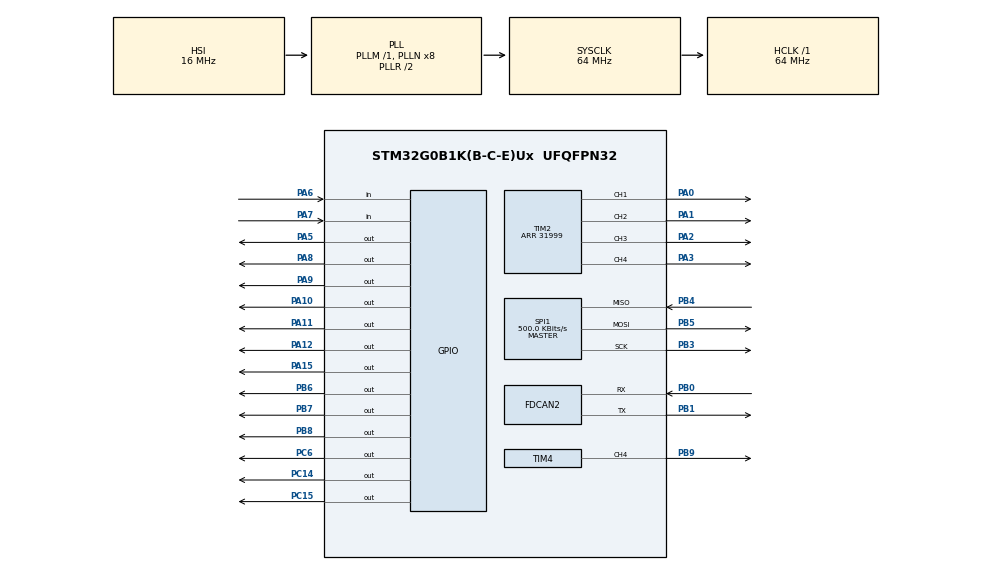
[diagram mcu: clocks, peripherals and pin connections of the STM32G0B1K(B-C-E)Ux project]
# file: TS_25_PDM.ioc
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FDCAN2.AutoRetransmission=ENABLE
FDCAN2.CalculateBaudRateNominal=500000
FDCAN2.CalculateTimeBitNominal=2000
FDCAN2.CalculateTimeQuantumNominal=125.0
FDCAN2.Mode=FDCAN_MODE_NORMAL
FDCAN2.NominalPrescaler=4
FDCAN2.NominalTimeSeg1=11
FDCAN2.NominalTimeSeg2=4
FDCAN2.StdFiltersNbr=1
FDCAN2.TxFifoQueueMode=FDCAN_TX_FIFO_OPERATION
Mcu.Family=STM32G0
Mcu.Name=STM32G0B1K(B-C-E)Ux
Mcu.Package=UFQFPN32
NVIC.TIM15_IRQn=true\:0\:0\:false\:false\:true\:true\:true\:true
NVIC.TIM2_IRQn=true\:0\:0\:false\:false\:true\:true\:true\:true
PA0.Signal=S_TIM2_CH1_ETR
PA1.Signal=S_TIM2_CH2
PA10.Signal=GPIO_Output
PA11\ [PA9].Signal=GPIO_Output
PA12\ [PA10].Signal=GPIO_Output
PA13.Mode=Serial_Wire
PA13.Signal=SYS_SWDIO
PA14-BOOT0.Mode=Serial_Wire
PA14-BOOT0.Signal=SYS_SWCLK
PA15.Signal=GPIO_Output
PA2.Signal=S_TIM2_CH3
PA3.Signal=S_TIM2_CH4
PA5.Signal=GPIO_Output
PA6.Signal=GPIO_Input
PA7.Signal=GPIO_Input
PA8.Signal=GPIO_Output
PA9.Signal=GPIO_Output
PB0.Mode=FDCAN_Activate
PB0.Signal=FDCAN2_RX
PB1.GPIO_Speed=GPIO_SPEED_FREQ_HIGH
PB1.Mode=FDCAN_Activate
PB1.Signal=FDCAN2_TX
PB3.Mode=Full_Duplex_Master
PB3.Signal=SPI1_SCK
PB4.GPIO_PuPd=GPIO_PULLDOWN
PB4.Mode=Full_Duplex_Master
PB4.Signal=SPI1_MISO
PB5.Mode=Full_Duplex_Master
PB5.Signal=SPI1_MOSI
PB6.Signal=GPIO_Output
PB7.Signal=GPIO_Output
PB8.Signal=GPIO_Output
PB9.Signal=S_TIM4_CH4
PC14-OSC32_IN\ (PC14).Signal=GPIO_Output
PC15-OSC32_OUT\ (PC15).Signal=GPIO_Output
PC6.Signal=GPIO_Output
ProjectManager.HeapSize=0x200
ProjectManager.StackSize=0x400
ProjectManager.TargetToolchain=STM32CubeIDE
RCC.ADCFreq_Value=64000000
RCC.AHBFreq_Value=64000000
RCC.APB1CLKDivider=RCC_HCLK_DIV2
RCC.CortexFreq_Value=64000000
RCC.EXTERNAL_CLOCK_VALUE=48000
RCC.HCLKFreq_Value=64000000
RCC.HSE_VALUE=8000000
RCC.HSI48_VALUE=48000000
RCC.HSI_VALUE=16000000
RCC.LSE_VALUE=32768
RCC.SYSCLKFreq_VALUE=64000000
RCC.SYSCLKSource=RCC_SYSCLKSOURCE_PLLCLK
RCC.USBFreq_Value=48000000
RCC.VCOOutputFreq_Value=128000000
SH.S_TIM2_CH1_ETR.0=TIM2_CH1,PWM Generation1 CH1
SH.S_TIM2_CH2.0=TIM2_CH2,PWM Generation2 CH2
SH.S_TIM2_CH3.0=TIM2_CH3,PWM Generation3 CH3
SH.S_TIM2_CH4.0=TIM2_CH4,PWM Generation4 CH4
SH.S_TIM4_CH4.0=TIM4_CH4,PWM Generation4 CH4
SPI1.BaudRatePrescaler=SPI_BAUDRATEPRESCALER_64
SPI1.CalculateBaudRate=500.0 KBits/s
SPI1.DataSize=SPI_DATASIZE_8BIT
SPI1.Direction=SPI_DIRECTION_2LINES
SPI1.Mode=SPI_MODE_MASTER
SPI1.VirtualType=VM_MASTER
TIM15.Period=63999
TIM2.Channel-PWM\ Generation1\ CH1=TIM_CHANNEL_1
TIM2.Channel-PWM\ Generation2\ CH2=TIM_CHANNEL_2
TIM2.Channel-PWM\ Generation3\ CH3=TIM_CHANNEL_3
TIM2.Channel-PWM\ Generation4\ CH4=TIM_CHANNEL_4
TIM2.Period=31999
TIM4.Channel-PWM\ Generation4\ CH4=TIM_CHANNEL_4
TIM4.Period=31999
VP_SYS_VS_DBSignals.Mode=DisableDeadBatterySignals
VP_TIM15_VS_ClockSourceINT.Mode=Internal
VP_TIM2_VS_ClockSourceINT.Mode=Internal
VP_TIM4_VS_ClockSourceINT.Mode=Internal
board=custom

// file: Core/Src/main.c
/* USER CODE BEGIN Header */
/**
  ******************************************************************************
  * @file           : main.c
  * @brief          : Main program body
  ******************************************************************************
  * @attention
  *
  * Copyright (c) 2025 STMicroelectronics.
  * All rights reserved.
  *
  * This software is licensed under terms that can be found in the LICENSE file
  * in the root directory of this software component.
  * If no LICENSE file comes with this software, it is provided AS-IS.
  *
  ******************************************************************************
  */
/* USER CODE END Header */
#include "main.h"

/* USER CODE BEGIN Includes */
#include "PDM.h"
/* USER CODE END Includes */

FDCAN_HandleTypeDef hfdcan2;

SPI_HandleTypeDef hspi1;

TIM_HandleTypeDef htim2;
TIM_HandleTypeDef htim4;
TIM_HandleTypeDef htim15;

void SystemClock_Config(void);
static void MX_GPIO_Init(void);
static void MX_FDCAN2_Init(void);
static void MX_SPI1_Init(void);
static void MX_TIM2_Init(void);
static void MX_TIM4_Init(void);
static void MX_TIM15_Init(void);

int main(void)
{

  /* MCU Configuration--------------------------------------------------------*/

  /* Reset of all peripherals, Initializes the Flash interface and the Systick. */
  HAL_Init();

  /* Configure the system clock */
  SystemClock_Config();

  /* USER CODE BEGIN SysInit */
  HAL_FDCAN_MspInit(&hfdcan2);
  HAL_SPI_MspInit(&hspi1);
  /* USER CODE END SysInit */

  /* Initialize all configured peripherals */
  MX_GPIO_Init();
  MX_FDCAN2_Init();
  MX_SPI1_Init();
  MX_TIM2_Init();
  MX_TIM4_Init();
  MX_TIM15_Init();
  /* USER CODE BEGIN 2 */
  canFramesDefine();
  ioAssign();
  initialiseADC();
  HAL_GPIO_WritePin(GPIOA, GPIO_PIN_5, GPIO_PIN_RESET);

  TickerAttach(&Ticker, &TransmitHeartBeat, PDM_HEARTBEAT_CAN_RATE);
  TickerAttach(&Ticker, &TransmitDigital, PDM_DIGITAL_CAN_RATE);
  TickerAttach(&Ticker, &TransmitDriverOut, PDM_HSDRIVERS_CAN_RATE);

  HAL_TIM_PWM_Start(&htim2, TIM_CHANNEL_4);
  HAL_TIM_PWM_Start(&htim2, TIM_CHANNEL_3);
  HAL_TIM_PWM_Start(&htim2, TIM_CHANNEL_2);
  HAL_TIM_PWM_Start(&htim2, TIM_CHANNEL_1);
  HAL_TIM_PWM_Start(&htim4, TIM_CHANNEL_4);

  //FDCAN_FilterTypeDef sFilterConfig;

  /* Configure Rx filter *//*
  sFilterConfig.IdType = FDCAN_STANDARD_ID;
  sFilterConfig.FilterIndex = 0;
  sFilterConfig.FilterType = FDCAN_FILTER_MASK;
  sFilterConfig.FilterConfig = FDCAN_FILTER_TO_RXFIFO0;
  sFilterConfig.FilterID1 = 0x260;
  sFilterConfig.FilterID2 = 0;
  HAL_FDCAN_ConfigFilter(&hfdcan2, &sFilterConfig);
  */
  /* Configure global filter:
     Filter all remote frames with STD and EXT ID
     Reject non matching frames with STD ID and EXT ID */
  //HAL_FDCAN_ConfigGlobalFilter(&hfdcan2, FDCAN_REJECT, FDCAN_REJECT, FDCAN_FILTER_REMOTE, FDCAN_FILTER_REMOTE);

  /* Start the FDCAN module */
  HAL_FDCAN_Start(&hfdcan2);

  //HAL_FDCAN_ActivateNotification(&hfdcan2, FDCAN_IT_RX_FIFO0_NEW_MESSAGE, 0);

  HAL_TIM_Base_Start_IT(&htim15);
  /* USER CODE END 2 */

  /* Infinite loop */
  /* USER CODE BEGIN WHILE */
  while (1)
  {
	  CheckReceivedCAN();
	  updatePWM();
	  UpdateDigital();
	  UpdateDriverOut();
	  TransmitCAN();
    /* USER CODE END WHILE */

  }
}

void SystemClock_Config(void)
{
  RCC_OscInitTypeDef RCC_OscInitStruct = {0};
  RCC_ClkInitTypeDef RCC_ClkInitStruct = {0};

  /** Configure the main internal regulator output voltage
  */
  HAL_PWREx_ControlVoltageScaling(PWR_REGULATOR_VOLTAGE_SCALE1);

  /** Initializes the RCC Oscillators according to the specified parameters
  * in the RCC_OscInitTypeDef structure.
  */
  RCC_OscInitStruct.OscillatorType = RCC_OSCILLATORTYPE_HSI;
  RCC_OscInitStruct.HSIState = RCC_HSI_ON;
  RCC_OscInitStruct.HSIDiv = RCC_HSI_DIV1;
  RCC_OscInitStruct.HSICalibrationValue = RCC_HSICALIBRATION_DEFAULT;
  RCC_OscInitStruct.PLL.PLLState = RCC_PLL_ON;
  RCC_OscInitStruct.PLL.PLLSource = RCC_PLLSOURCE_HSI;
  RCC_OscInitStruct.PLL.PLLM = RCC_PLLM_DIV1;
  RCC_OscInitStruct.PLL.PLLN = 8;
  RCC_OscInitStruct.PLL.PLLP = RCC_PLLP_DIV2;
  RCC_OscInitStruct.PLL.PLLQ = RCC_PLLQ_DIV2;
  RCC_OscInitStruct.PLL.PLLR = RCC_PLLR_DIV2;
  if (HAL_RCC_OscConfig(&RCC_OscInitStruct) != HAL_OK)
  {
    Error_Handler();
  }

  /** Initializes the CPU, AHB and APB buses clocks
  */
  RCC_ClkInitStruct.ClockType = RCC_CLOCKTYPE_HCLK|RCC_CLOCKTYPE_SYSCLK
                              |RCC_CLOCKTYPE_PCLK1;
  RCC_ClkInitStruct.SYSCLKSource = RCC_SYSCLKSOURCE_PLLCLK;
  RCC_ClkInitStruct.AHBCLKDivider = RCC_SYSCLK_DIV1;
  RCC_ClkInitStruct.APB1CLKDivider = RCC_HCLK_DIV2;

  if (HAL_RCC_ClockConfig(&RCC_ClkInitStruct, FLASH_LATENCY_2) != HAL_OK)
  {
    Error_Handler();
  }
}

static void MX_FDCAN2_Init(void)
{

  hfdcan2.Instance = FDCAN2;
  hfdcan2.Init.ClockDivider = FDCAN_CLOCK_DIV1;
  hfdcan2.Init.FrameFormat = FDCAN_FRAME_CLASSIC;
  hfdcan2.Init.Mode = FDCAN_MODE_NORMAL;
  hfdcan2.Init.AutoRetransmission = ENABLE;
  hfdcan2.Init.TransmitPause = DISABLE;
  hfdcan2.Init.ProtocolException = DISABLE;
  hfdcan2.Init.NominalPrescaler = 4;
  hfdcan2.Init.NominalSyncJumpWidth = 1;
  hfdcan2.Init.NominalTimeSeg1 = 11;
  hfdcan2.Init.NominalTimeSeg2 = 4;
  hfdcan2.Init.DataPrescaler = 1;
  hfdcan2.Init.DataSyncJumpWidth = 1;
  hfdcan2.Init.DataTimeSeg1 = 1;
  hfdcan2.Init.DataTimeSeg2 = 1;
  hfdcan2.Init.StdFiltersNbr = 1;
  hfdcan2.Init.ExtFiltersNbr = 0;
  hfdcan2.Init.TxFifoQueueMode = FDCAN_TX_FIFO_OPERATION;
  if (HAL_FDCAN_Init(&hfdcan2) != HAL_OK)
  {
    Error_Handler();
  }

}

static void MX_SPI1_Init(void)
{

  /* SPI1 parameter configuration*/
  hspi1.Instance = SPI1;
  hspi1.Init.Mode = SPI_MODE_MASTER;
  hspi1.Init.Direction = SPI_DIRECTION_2LINES;
  hspi1.Init.DataSize = SPI_DATASIZE_8BIT;
  hspi1.Init.CLKPolarity = SPI_POLARITY_LOW;
  hspi1.Init.CLKPhase = SPI_PHASE_1EDGE;
  hspi1.Init.NSS = SPI_NSS_SOFT;
  hspi1.Init.BaudRatePrescaler = SPI_BAUDRATEPRESCALER_64;
  hspi1.Init.FirstBit = SPI_FIRSTBIT_MSB;
  hspi1.Init.TIMode = SPI_TIMODE_DISABLE;
  hspi1.Init.CRCCalculation = SPI_CRCCALCULATION_DISABLE;
  hspi1.Init.CRCPolynomial = 7;
  hspi1.Init.CRCLength = SPI_CRC_LENGTH_DATASIZE;
  hspi1.Init.NSSPMode = SPI_NSS_PULSE_ENABLE;
  if (HAL_SPI_Init(&hspi1) != HAL_OK)
  {
    Error_Handler();
  }

}

static void MX_TIM2_Init(void)
{

  TIM_ClockConfigTypeDef sClockSourceConfig = {0};
  TIM_MasterConfigTypeDef sMasterConfig = {0};
  TIM_OC_InitTypeDef sConfigOC = {0};

  htim2.Instance = TIM2;
  htim2.Init.Prescaler = 0;
  htim2.Init.CounterMode = TIM_COUNTERMODE_UP;
  htim2.Init.Period = 31999;
  htim2.Init.ClockDivision = TIM_CLOCKDIVISION_DIV1;
  htim2.Init.AutoReloadPreload = TIM_AUTORELOAD_PRELOAD_DISABLE;
  if (HAL_TIM_Base_Init(&htim2) != HAL_OK)
  {
    Error_Handler();
  }
  sClockSourceConfig.ClockSource = TIM_CLOCKSOURCE_INTERNAL;
  if (HAL_TIM_ConfigClockSource(&htim2, &sClockSourceConfig) != HAL_OK)
  {
    Error_Handler();
  }
  if (HAL_TIM_PWM_Init(&htim2) != HAL_OK)
  {
    Error_Handler();
  }
  sMasterConfig.MasterOutputTrigger = TIM_TRGO_RESET;
  sMasterConfig.MasterSlaveMode = TIM_MASTERSLAVEMODE_DISABLE;
  if (HAL_TIMEx_MasterConfigSynchronization(&htim2, &sMasterConfig) != HAL_OK)
  {
    Error_Handler();
  }
  sConfigOC.OCMode = TIM_OCMODE_PWM1;
  sConfigOC.Pulse = 0;
  sConfigOC.OCPolarity = TIM_OCPOLARITY_HIGH;
  sConfigOC.OCFastMode = TIM_OCFAST_DISABLE;
  if (HAL_TIM_PWM_ConfigChannel(&htim2, &sConfigOC, TIM_CHANNEL_1) != HAL_OK)
  {
    Error_Handler();
  }
  if (HAL_TIM_PWM_ConfigChannel(&htim2, &sConfigOC, TIM_CHANNEL_2) != HAL_OK)
  {
    Error_Handler();
  }
  if (HAL_TIM_PWM_ConfigChannel(&htim2, &sConfigOC, TIM_CHANNEL_3) != HAL_OK)
  {
    Error_Handler();
  }
  if (HAL_TIM_PWM_ConfigChannel(&htim2, &sConfigOC, TIM_CHANNEL_4) != HAL_OK)
  {
    Error_Handler();
  }
  HAL_TIM_MspPostInit(&htim2);

}

static void MX_TIM4_Init(void)
{

  TIM_ClockConfigTypeDef sClockSourceConfig = {0};
  TIM_MasterConfigTypeDef sMasterConfig = {0};
  TIM_OC_InitTypeDef sConfigOC = {0};

  htim4.Instance = TIM4;
  htim4.Init.Prescaler = 0;
  htim4.Init.CounterMode = TIM_COUNTERMODE_UP;
  htim4.Init.Period = 31999;
  htim4.Init.ClockDivision = TIM_CLOCKDIVISION_DIV1;
  htim4.Init.AutoReloadPreload = TIM_AUTORELOAD_PRELOAD_DISABLE;
  if (HAL_TIM_Base_Init(&htim4) != HAL_OK)
  {
    Error_Handler();
  }
  sClockSourceConfig.ClockSource = TIM_CLOCKSOURCE_INTERNAL;
  if (HAL_TIM_ConfigClockSource(&htim4, &sClockSourceConfig) != HAL_OK)
  {
    Error_Handler();
  }
  if (HAL_TIM_PWM_Init(&htim4) != HAL_OK)
  {
    Error_Handler();
  }
  sMasterConfig.MasterOutputTrigger = TIM_TRGO_RESET;
  sMasterConfig.MasterSlaveMode = TIM_MASTERSLAVEMODE_DISABLE;
  if (HAL_TIMEx_MasterConfigSynchronization(&htim4, &sMasterConfig) != HAL_OK)
  {
    Error_Handler();
  }
  sConfigOC.OCMode = TIM_OCMODE_PWM1;
  sConfigOC.Pulse = 0;
  sConfigOC.OCPolarity = TIM_OCPOLARITY_HIGH;
  sConfigOC.OCFastMode = TIM_OCFAST_DISABLE;
  if (HAL_TIM_PWM_ConfigChannel(&htim4, &sConfigOC, TIM_CHANNEL_4) != HAL_OK)
  {
    Error_Handler();
  }
  HAL_TIM_MspPostInit(&htim4);

}

static void MX_TIM15_Init(void)
{

  TIM_ClockConfigTypeDef sClockSourceConfig = {0};
  TIM_MasterConfigTypeDef sMasterConfig = {0};

  htim15.Instance = TIM15;
  htim15.Init.Prescaler = 0;
  htim15.Init.CounterMode = TIM_COUNTERMODE_UP;
  htim15.Init.Period = 63999;
  htim15.Init.ClockDivision = TIM_CLOCKDIVISION_DIV1;
  htim15.Init.RepetitionCounter = 0;
  htim15.Init.AutoReloadPreload = TIM_AUTORELOAD_PRELOAD_DISABLE;
  if (HAL_TIM_Base_Init(&htim15) != HAL_OK)
  {
    Error_Handler();
  }
  sClockSourceConfig.ClockSource = TIM_CLOCKSOURCE_INTERNAL;
  if (HAL_TIM_ConfigClockSource(&htim15, &sClockSourceConfig) != HAL_OK)
  {
    Error_Handler();
  }
  sMasterConfig.MasterOutputTrigger = TIM_TRGO_RESET;
  sMasterConfig.MasterSlaveMode = TIM_MASTERSLAVEMODE_DISABLE;
  if (HAL_TIMEx_MasterConfigSynchronization(&htim15, &sMasterConfig) != HAL_OK)
  {
    Error_Handler();
  }

}

static void MX_GPIO_Init(void)
{
  GPIO_InitTypeDef GPIO_InitStruct = {0};

  /* GPIO Ports Clock Enable */
  __HAL_RCC_GPIOB_CLK_ENABLE();
  __HAL_RCC_GPIOC_CLK_ENABLE();
  __HAL_RCC_GPIOA_CLK_ENABLE();

  /*Configure GPIO pin Output Level */
  HAL_GPIO_WritePin(GPIOC, GPIO_PIN_14|GPIO_PIN_15|GPIO_PIN_6, GPIO_PIN_RESET);

  /*Configure GPIO pin Output Level */
  HAL_GPIO_WritePin(GPIOA, GPIO_PIN_5|GPIO_PIN_8|GPIO_PIN_9|GPIO_PIN_10
                          |GPIO_PIN_11|GPIO_PIN_12|GPIO_PIN_15, GPIO_PIN_RESET);

  /*Configure GPIO pin Output Level */
  HAL_GPIO_WritePin(GPIOB, GPIO_PIN_6|GPIO_PIN_7|GPIO_PIN_8, GPIO_PIN_RESET);

  /*Configure GPIO pins : PC14 PC15 PC6 */
  GPIO_InitStruct.Pin = GPIO_PIN_14|GPIO_PIN_15|GPIO_PIN_6;
  GPIO_InitStruct.Mode = GPIO_MODE_OUTPUT_PP;
  GPIO_InitStruct.Pull = GPIO_NOPULL;
  GPIO_InitStruct.Speed = GPIO_SPEED_FREQ_LOW;
  HAL_GPIO_Init(GPIOC, &GPIO_InitStruct);

  /*Configure GPIO pins : PA5 PA8 PA9 PA10
                           PA11 PA12 PA15 */
  GPIO_InitStruct.Pin = GPIO_PIN_5|GPIO_PIN_8|GPIO_PIN_9|GPIO_PIN_10
                          |GPIO_PIN_11|GPIO_PIN_12|GPIO_PIN_15;
  GPIO_InitStruct.Mode = GPIO_MODE_OUTPUT_PP;
  GPIO_InitStruct.Pull = GPIO_NOPULL;
  GPIO_InitStruct.Speed = GPIO_SPEED_FREQ_LOW;
  HAL_GPIO_Init(GPIOA, &GPIO_InitStruct);

  /*Configure GPIO pins : PA6 PA7 */
  GPIO_InitStruct.Pin = GPIO_PIN_6|GPIO_PIN_7;
  GPIO_InitStruct.Mode = GPIO_MODE_INPUT;
  GPIO_InitStruct.Pull = GPIO_NOPULL;
  HAL_GPIO_Init(GPIOA, &GPIO_InitStruct);

  /*Configure GPIO pins : PB6 PB7 PB8 */
  GPIO_InitStruct.Pin = GPIO_PIN_6|GPIO_PIN_7|GPIO_PIN_8;
  GPIO_InitStruct.Mode = GPIO_MODE_OUTPUT_PP;
  GPIO_InitStruct.Pull = GPIO_NOPULL;
  GPIO_InitStruct.Speed = GPIO_SPEED_FREQ_LOW;
  HAL_GPIO_Init(GPIOB, &GPIO_InitStruct);

}

/* USER CODE BEGIN 4 */
void HAL_TIM_PeriodElapsedCallback(TIM_HandleTypeDef* htim)
{
	if(htim->Instance == TIM15)
	{
		TickerHandler(&Ticker);
	}
}
/* USER CODE END 4 */

void Error_Handler(void)
{
  __disable_irq();
  while (1)
  {
  }
}
